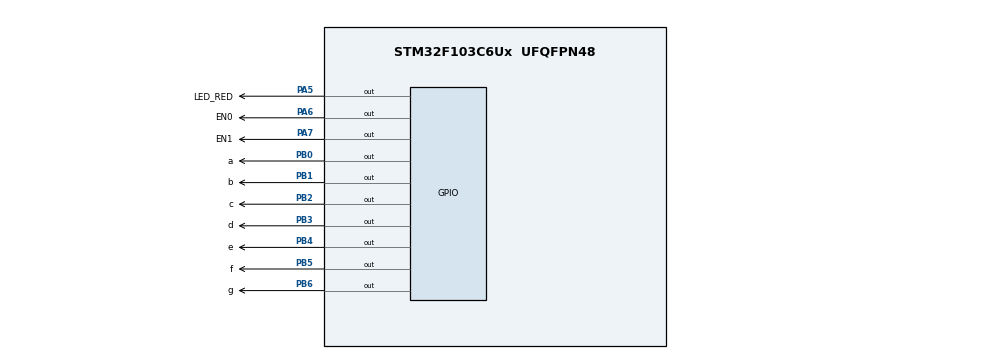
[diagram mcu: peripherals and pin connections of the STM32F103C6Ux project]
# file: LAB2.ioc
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Mcu.Family=STM32F1
Mcu.Name=STM32F103C6Ux
Mcu.Package=UFQFPN48
NVIC.PriorityGroup=NVIC_PRIORITYGROUP_4
NVIC.TIM2_IRQn=true\:0\:0\:false\:false\:true\:true\:true
PA5.GPIO_Label=LED_RED
PA5.Signal=GPIO_Output
PA6.GPIO_Label=EN0
PA6.Signal=GPIO_Output
PA7.GPIO_Label=EN1
PA7.Signal=GPIO_Output
PB0.GPIO_Label=a
PB0.Signal=GPIO_Output
PB1.GPIO_Label=b
PB1.Signal=GPIO_Output
PB2.GPIO_Label=c
PB2.Signal=GPIO_Output
PB3.GPIO_Label=d
PB3.Signal=GPIO_Output
PB4.GPIO_Label=e
PB4.Signal=GPIO_Output
PB5.GPIO_Label=f
PB5.Signal=GPIO_Output
PB6.GPIO_Label=g
PB6.Signal=GPIO_Output
ProjectManager.HeapSize=0x200
ProjectManager.StackSize=0x400
ProjectManager.TargetToolchain=STM32CubeIDE
RCC.APB1Freq_Value=8000000
RCC.APB2Freq_Value=8000000
TIM2.Period=9
TIM2.Prescaler=7999
VP_SYS_VS_ND.Mode=No_Debug
VP_TIM2_VS_ClockSourceINT.Mode=Internal
board=custom

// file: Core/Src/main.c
/* USER CODE BEGIN Header */
/**
  ******************************************************************************
  * @file           : main.c
  * @brief          : Main program body
  ******************************************************************************
  * @attention
  *
  * <h2><center>&copy; Copyright (c) 2026 STMicroelectronics.
  * All rights reserved.</center></h2>
  *
  * This software component is licensed by ST under BSD 3-Clause license,
  * the "License"; You may not use this file except in compliance with the
  * License. You may obtain a copy of the License at:
  *                        opensource.org/licenses/BSD-3-Clause
  *
  ******************************************************************************
  */
/* USER CODE END Header */
#include "main.h"

TIM_HandleTypeDef htim2;

/* USER CODE BEGIN PV */
int switchCounter = 0;
int displayIndex = 0;

void display7SEG(int num)
{
    const uint8_t code[10][7] =
    {
        {1,1,1,1,1,1,0}, // 0
        {0,1,1,0,0,0,0}, // 1
        {1,1,0,1,1,0,1}, // 2
        {1,1,1,1,0,0,1}, // 3
        {0,1,1,0,0,1,1}, // 4
        {1,0,1,1,0,1,1}, // 5
        {1,0,1,1,1,1,1}, // 6
        {1,1,1,0,0,0,0}, // 7
        {1,1,1,1,1,1,1}, // 8
        {1,1,1,1,0,1,1}  // 9
    };

    uint16_t pin[7] =
    {
        a_Pin,
        b_Pin,
        c_Pin,
        d_Pin,
        e_Pin,
        f_Pin,
        g_Pin
    };

    for (int i = 0; i < 7; i++)
    {
        HAL_GPIO_WritePin(GPIOB,pin[i], code[num][i] ? GPIO_PIN_RESET : GPIO_PIN_SET);
    }
}
/* USER CODE END PV */

void SystemClock_Config(void);
static void MX_GPIO_Init(void);
static void MX_TIM2_Init(void);

int main(void)
{

  /* MCU Configuration--------------------------------------------------------*/

  /* Reset of all peripherals, Initializes the Flash interface and the Systick. */
  HAL_Init();
  /* USER CODE BEGIN 2 */

  /* Configure the system clock */

  /* USER CODE BEGIN SysInit */
  SystemClock_Config () ;
  /* USER CODE END SysInit */

  /* Initialize all configured peripherals */
  MX_GPIO_Init();
  MX_TIM2_Init();
  /* USER CODE BEGIN 2 */
  /* USER CODE END 2 */
  HAL_GPIO_WritePin(EN0_GPIO_Port, EN0_Pin, GPIO_PIN_SET);
  HAL_GPIO_WritePin(EN1_GPIO_Port, EN1_Pin, GPIO_PIN_SET);

  display7SEG(1);
  HAL_GPIO_WritePin(EN0_GPIO_Port, EN0_Pin, GPIO_PIN_RESET);

  HAL_TIM_Base_Start_IT(&htim2);
  /* Infinite loop */
  while (1)
  {

  }
}

void SystemClock_Config(void)
{
  RCC_OscInitTypeDef RCC_OscInitStruct = {0};
  RCC_ClkInitTypeDef RCC_ClkInitStruct = {0};

  /** Initializes the RCC Oscillators according to the specified parameters
  * in the RCC_OscInitTypeDef structure.
  */
  RCC_OscInitStruct.OscillatorType = RCC_OSCILLATORTYPE_HSI;
  RCC_OscInitStruct.HSIState = RCC_HSI_ON;
  RCC_OscInitStruct.HSICalibrationValue = RCC_HSICALIBRATION_DEFAULT;
  RCC_OscInitStruct.PLL.PLLState = RCC_PLL_NONE;
  if (HAL_RCC_OscConfig(&RCC_OscInitStruct) != HAL_OK)
  {
    Error_Handler();
  }
  /** Initializes the CPU, AHB and APB buses clocks
  */
  RCC_ClkInitStruct.ClockType = RCC_CLOCKTYPE_HCLK|RCC_CLOCKTYPE_SYSCLK
                              |RCC_CLOCKTYPE_PCLK1|RCC_CLOCKTYPE_PCLK2;
  RCC_ClkInitStruct.SYSCLKSource = RCC_SYSCLKSOURCE_HSI;
  RCC_ClkInitStruct.AHBCLKDivider = RCC_SYSCLK_DIV1;
  RCC_ClkInitStruct.APB1CLKDivider = RCC_HCLK_DIV1;
  RCC_ClkInitStruct.APB2CLKDivider = RCC_HCLK_DIV1;

  if (HAL_RCC_ClockConfig(&RCC_ClkInitStruct, FLASH_LATENCY_0) != HAL_OK)
  {
    Error_Handler();
  }
}

static void MX_TIM2_Init(void)
{

  TIM_ClockConfigTypeDef sClockSourceConfig = {0};
  TIM_MasterConfigTypeDef sMasterConfig = {0};

  htim2.Instance = TIM2;
  htim2.Init.Prescaler = 7999;
  htim2.Init.CounterMode = TIM_COUNTERMODE_UP;
  htim2.Init.Period = 9;
  htim2.Init.ClockDivision = TIM_CLOCKDIVISION_DIV1;
  htim2.Init.AutoReloadPreload = TIM_AUTORELOAD_PRELOAD_DISABLE;
  if (HAL_TIM_Base_Init(&htim2) != HAL_OK)
  {
    Error_Handler();
  }
  sClockSourceConfig.ClockSource = TIM_CLOCKSOURCE_INTERNAL;
  if (HAL_TIM_ConfigClockSource(&htim2, &sClockSourceConfig) != HAL_OK)
  {
    Error_Handler();
  }
  sMasterConfig.MasterOutputTrigger = TIM_TRGO_RESET;
  sMasterConfig.MasterSlaveMode = TIM_MASTERSLAVEMODE_DISABLE;
  if (HAL_TIMEx_MasterConfigSynchronization(&htim2, &sMasterConfig) != HAL_OK)
  {
    Error_Handler();
  }

}

static void MX_GPIO_Init(void)
{
  GPIO_InitTypeDef GPIO_InitStruct = {0};

  /* GPIO Ports Clock Enable */
  __HAL_RCC_GPIOA_CLK_ENABLE();
  __HAL_RCC_GPIOB_CLK_ENABLE();

  /*Configure GPIO pin Output Level */
  HAL_GPIO_WritePin(GPIOA, LED_RED_Pin|EN0_Pin|EN1_Pin, GPIO_PIN_RESET);

  /*Configure GPIO pin Output Level */
  HAL_GPIO_WritePin(GPIOB, a_Pin|b_Pin|c_Pin|d_Pin
                          |e_Pin|f_Pin|g_Pin, GPIO_PIN_RESET);

  /*Configure GPIO pins : LED_RED_Pin EN0_Pin EN1_Pin */
  GPIO_InitStruct.Pin = LED_RED_Pin|EN0_Pin|EN1_Pin;
  GPIO_InitStruct.Mode = GPIO_MODE_OUTPUT_PP;
  GPIO_InitStruct.Pull = GPIO_NOPULL;
  GPIO_InitStruct.Speed = GPIO_SPEED_FREQ_LOW;
  HAL_GPIO_Init(GPIOA, &GPIO_InitStruct);

  /*Configure GPIO pins : a_Pin b_Pin c_Pin d_Pin
                           e_Pin f_Pin g_Pin */
  GPIO_InitStruct.Pin = a_Pin|b_Pin|c_Pin|d_Pin
                          |e_Pin|f_Pin|g_Pin;
  GPIO_InitStruct.Mode = GPIO_MODE_OUTPUT_PP;
  GPIO_InitStruct.Pull = GPIO_NOPULL;
  GPIO_InitStruct.Speed = GPIO_SPEED_FREQ_LOW;
  HAL_GPIO_Init(GPIOB, &GPIO_InitStruct);

}

/* USER CODE BEGIN 4 */

void HAL_TIM_PeriodElapsedCallback ( TIM_HandleTypeDef * htim ) {
	if (htim->Instance == TIM2) {
		switchCounter++;
		if (switchCounter >= 50) {
			switchCounter = 0;
			displayIndex++;
			if (displayIndex >= 2) {
				displayIndex = 0;
			}
		}
		HAL_GPIO_WritePin(EN0_GPIO_Port, EN0_Pin, GPIO_PIN_SET);
		HAL_GPIO_WritePin(EN1_GPIO_Port, EN1_Pin, GPIO_PIN_SET);

		switch (displayIndex) {
		case 0:
			display7SEG(1);
			HAL_GPIO_WritePin(EN0_GPIO_Port, EN0_Pin, GPIO_PIN_RESET);
			break;
		case 1:
			display7SEG(2);
			HAL_GPIO_WritePin(EN1_GPIO_Port, EN1_Pin, GPIO_PIN_RESET);
			break;
		default:
			break;
		}
	}
}
/* USER CODE END 4 */

void Error_Handler(void)
{
  __disable_irq();
  while (1)
  {
  }
}

/************************ (C) COPYRIGHT STMicroelectronics *****END OF FILE****/
